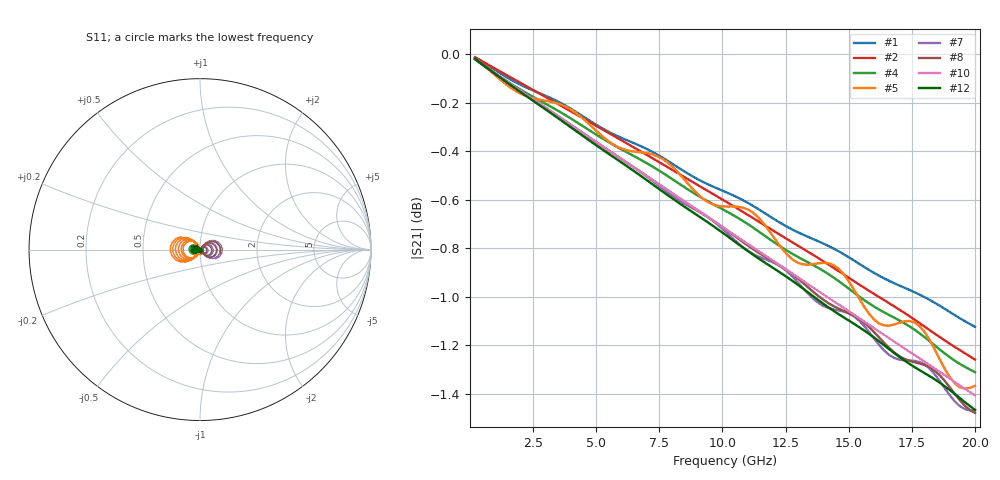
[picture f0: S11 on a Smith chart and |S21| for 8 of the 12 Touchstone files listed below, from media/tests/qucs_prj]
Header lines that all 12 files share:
# HZ S RI R 50
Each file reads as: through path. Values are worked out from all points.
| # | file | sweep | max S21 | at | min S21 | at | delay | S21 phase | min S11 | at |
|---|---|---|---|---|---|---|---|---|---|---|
| 1 | cpw,t=0,h=100mm,w=3mm,s=0.3mm,l=25mm,backside=air.s2p | 200 MHz to 20 GHz | -0.01 dB | 200 MHz | -1.1 dB | 20 GHz | 138 ps | -148 deg at 10.2 GHz | -56.4 dB | 3.6 GHz |
| 2 | cpw,t=0,w=1.6mm,s=0.3mm,l=25mm,backside=metal.s2p | 200 MHz to 20 GHz | -0.01 dB | 200 MHz | -1.3 dB | 20 GHz | 147 ps | -167 deg at 10.2 GHz | -67.0 dB | 3.6 GHz |
| 3 | cpw,t=0,w=3mm,s=0.3mm,l=25mm,backside=air.s2p | 200 MHz to 20 GHz | -0.01 dB | 200 MHz | -1.2 dB | 20 GHz | 145 ps | -141 deg at 10.2 GHz | -68.3 dB | 3.8 GHz |
| 4 | cpw,t=35um,w=1.6mm,s=0.3mm,l=25mm,backside=metal.s2p | 200 MHz to 20 GHz | -0.02 dB | 200 MHz | -1.3 dB | 20 GHz | 144 ps | -155 deg at 10.2 GHz | -59.7 dB | 3.6 GHz |
| 5 | cpw,t=35um,w=3mm,s=0.3mm,l=25mm,backside=air.s2p | 200 MHz to 20 GHz | -0.02 dB | 200 MHz | -1.4 dB | 19.6 GHz | 143 ps | -133 deg at 10.2 GHz | -46.0 dB | 3.8 GHz |
| 6 | cpw.s2p | 1 GHz to 20 GHz | -11.40 dB | 1 GHz | -50.8 dB | 20 GHz | 8.16 ps | -31 deg at 10.5 GHz | -23.7 dB | 1 GHz |
| 7 | mline,hammerstad,hammerstad.s2p | 200 MHz to 20 GHz | -0.02 dB | 200 MHz | -1.5 dB | 20 GHz | 169 ps | 132 deg at 10.2 GHz | -76.6 dB | 3.4 GHz |
| 8 | mline,hammerstad,kirschning.s2p | 200 MHz to 20 GHz | -0.02 dB | 200 MHz | -1.5 dB | 20 GHz | 165 ps | 137 deg at 10.2 GHz | -96.0 dB | 6.4 GHz |
| 9 | mline,hammerstad,kobayashi.s2p | 200 MHz to 20 GHz | -0.02 dB | 200 MHz | -1.4 dB | 20 GHz | 165 ps | 137 deg at 10.2 GHz | -61.2 dB | 6.4 GHz |
| 10 | mline,hammerstad,yamashita.s2p | 200 MHz to 20 GHz | -0.02 dB | 200 MHz | -1.4 dB | 20 GHz | 167 ps | 133 deg at 10.2 GHz | -60.9 dB | 3.2 GHz |
| 11 | mline,schneider,schneider.s2p | 200 MHz to 20 GHz | -0.02 dB | 200 MHz | -1.5 dB | 20 GHz | 161 ps | 146 deg at 10.2 GHz | -57.5 dB | 3.2 GHz |
| 12 | mline,wheeler,schneider.s2p | 200 MHz to 20 GHz | -0.02 dB | 200 MHz | -1.5 dB | 20 GHz | 162 ps | 143 deg at 10.2 GHz | -63.1 dB | 3.2 GHz |
